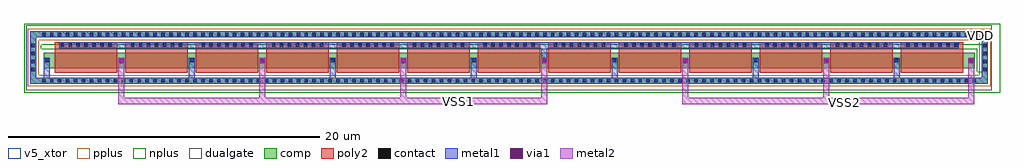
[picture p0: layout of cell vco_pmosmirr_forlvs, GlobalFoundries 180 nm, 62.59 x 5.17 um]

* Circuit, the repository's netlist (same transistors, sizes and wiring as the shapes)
* Extracted by KLayout with GF180MCU LVS runset on : 11/09/2025 15:00

.SUBCKT vco_pmosmirr_forlvs VSS2 VDD VSS1
M$1 VSS1 VSS1 VDD VSS1 nfet_05v0 L=4U W=1U AS=0.73P AD=0.26P PS=3.46U PD=1.52U
M$2 \$5 VSS1 VSS1 VSS1 nfet_05v0 L=4U W=2U AS=0.52P AD=0.52P PS=3.04U PD=3.04U
M$4 \$6 VSS1 VSS1 VSS1 nfet_05v0 L=4U W=2U AS=0.52P AD=0.52P PS=3.04U PD=3.04U
M$6 \$7 VSS1 VSS1 VSS1 nfet_05v0 L=4U W=2U AS=0.52P AD=0.52P PS=3.04U PD=3.04U
M$8 \$8 VSS1 VSS1 VSS1 nfet_05v0 L=4U W=1U AS=0.26P AD=0.26P PS=1.52U PD=1.52U
M$9 VSS2 VSS1 \$8 VSS1 nfet_05v0 L=4U W=1U AS=0.26P AD=0.26P PS=1.52U PD=1.52U
M$10 \$9 VSS1 VSS2 VSS1 nfet_05v0 L=4U W=2U AS=0.52P AD=0.52P PS=3.04U PD=3.04U
M$12 \$10 VSS1 VSS2 VSS1 nfet_05v0 L=4U W=2U AS=0.52P AD=0.99P PS=3.04U PD=4.98U
.ENDS vco_pmosmirr_forlvs

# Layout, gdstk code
import gdstk
lib = gdstk.Library(unit=1e-6, precision=5e-09)
def R(c, l, rs):  # rectangles x0, y0, x1, y1
    for r in rs: c.add(gdstk.rectangle(r[:2], r[2:], *l))
def A(c, l, x, y, w, h, nx, ny, dx, dy):  # array of equal rectangles
    R(c, l, [(x+i*dx, y+j*dy, x+i*dx+w, y+j*dy+h) for i in range(nx) for j in range(ny)])
def P(c, l, *ps):  # polygons
    for p in ps: c.add(gdstk.Polygon(p, *l))
comp = (22, 0)
poly2 = (30, 0)
pplus = (31, 0)
nplus = (32, 0)
contact = (33, 0)
metal1 = (34, 0)
via1 = (35, 0)
metal2 = (36, 0)
dualgate = (55, 0)
v5_xtor = (112, 1)

nfet_1 = lib.new_cell('nfet$1')
R(nfet_1, comp, [(-0.42,0,0,1), (0,0,58.86,1), (58.86,0,59.28,1)])
P(nfet_1, comp, [(-1.28,-0.99),(-1.28,1.98),(-0.9,1.98),(-0.9,-0.61),(59.76,-0.61),(59.76,1.98),(-1.28,1.98),(-1.28,2.36),(60.14,2.36),(60.14,-0.99)])
A(nfet_1, poly2, 0.31, -0.3, 4, 1.6, 13, 1, 4.52, 0)
A(nfet_1, poly2, 0.31, 1.3, 4, 0.36, 13, 1, 4.52, 0)
P(nfet_1, pplus, [(-1.45,-1.16),(-1.45,1.81),(-0.73,1.81),(-0.73,-0.44),(59.59,-0.44),(59.59,1.81),(-1.45,1.81),(-1.45,2.53),(60.31,2.53),(60.31,-1.16)])
R(nfet_1, nplus, [(-0.59,-0.24,59.45,1.24)])
A(nfet_1, contact, -0.515, -0.91, 0.22, 0.22, 118, 2, 0.51, 2.97)
A(nfet_1, contact, -1.2, -0.19, 0.22, 0.22, 1, 4, 0, 0.51)
A(nfet_1, contact, 59.84, -0.19, 0.22, 0.22, 1, 4, 0, 0.51)
A(nfet_1, contact, 4.46, 0.39, 0.22, 0.22, 12, 1, 4.52, 0)
A(nfet_1, contact, 0.67, 1.37, 0.22, 0.22, 7, 1, 0.51, 0)
A(nfet_1, contact, 5.19, 1.37, 0.22, 0.22, 7, 1, 0.51, 0)
A(nfet_1, contact, 9.71, 1.37, 0.22, 0.22, 7, 1, 0.51, 0)
A(nfet_1, contact, 14.23, 1.37, 0.22, 0.22, 7, 1, 0.51, 0)
A(nfet_1, contact, 18.75, 1.37, 0.22, 0.22, 7, 1, 0.51, 0)
A(nfet_1, contact, 23.27, 1.37, 0.22, 0.22, 7, 1, 0.51, 0)
A(nfet_1, contact, 27.79, 1.37, 0.22, 0.22, 7, 1, 0.51, 0)
A(nfet_1, contact, 32.31, 1.37, 0.22, 0.22, 7, 1, 0.51, 0)
A(nfet_1, contact, 36.83, 1.37, 0.22, 0.22, 7, 1, 0.51, 0)
A(nfet_1, contact, 41.35, 1.37, 0.22, 0.22, 7, 1, 0.51, 0)
A(nfet_1, contact, 45.87, 1.37, 0.22, 0.22, 7, 1, 0.51, 0)
A(nfet_1, contact, 50.39, 1.37, 0.22, 0.22, 7, 1, 0.51, 0)
A(nfet_1, contact, 54.91, 1.37, 0.22, 0.22, 7, 1, 0.51, 0)
R(nfet_1, contact, [(-0.32,0.39,-0.1,0.61), (58.96,0.39,59.18,0.61)])
A(nfet_1, metal1, 4.38, 0.31, 0.38, 0.38, 12, 1, 4.52, 0)
A(nfet_1, metal1, 0.59, 1.29, 3.44, 0.38, 13, 1, 4.52, 0)
R(nfet_1, metal1, [(-0.4,0.31,-0.02,0.69), (58.88,0.31,59.26,0.69)])
R(nfet_1, dualgate, [(-1.53,-1.4,60.39,2.77), (-1.53,-1.24,60.39,2.61)])
R(nfet_1, v5_xtor, [(-1.53,-1.4,60.39,2.77), (-1.53,-1.24,60.39,2.61)])

vco_pmosmirr_forlvs = lib.new_cell('vco_pmosmirr_forlvs')
R(vco_pmosmirr_forlvs, nplus, [(-3.845,7.15,58.745,8.505), (-3.845,7.15,-2.745,11.585), (57.645,7.15,58.745,11.585), (-3.845,10.23,58.745,11.585)])
A(vco_pmosmirr_forlvs, metal1, 6.73, 8.12, 0.38, 0.92, 6, 1, 9.04, 0)
R(vco_pmosmirr_forlvs, metal1, [(-3.45,7.735,57.97,8.115), (-3.45,8.115,-3.07,10.705), (-2.57,8.115,-2.19,9.035), (57.59,8.115,57.97,10.705), (29.33,9.415,29.71,10.025), (-1.58,10.015,56.1,10.395), (-3.45,10.705,57.97,11.085)])
A(vco_pmosmirr_forlvs, via1, 2.27, 9.095, 0.26, 0.26, 6, 1, 9.04, 0)
R(vco_pmosmirr_forlvs, via1, [(56.77,9.095,57.03,9.355)])
A(vco_pmosmirr_forlvs, metal2, 2.21, 6.415, 0.38, 3, 6, 1, 9.04, 0)
R(vco_pmosmirr_forlvs, metal2, [(2.59,6.415,29.71,6.83), (38.37,6.415,57.09,6.83), (56.71,6.415,57.09,9.415)])
vco_pmosmirr_forlvs.add(gdstk.Reference(nfet_1, (-2.17,8.725)))
vco_pmosmirr_forlvs.add(gdstk.Label('VDD', (57.475,10.855), layer=34, texttype=10))
vco_pmosmirr_forlvs.add(gdstk.Label('VSS2', (48.745,6.545), layer=36, texttype=10))
vco_pmosmirr_forlvs.add(gdstk.Label('VSS1', (24.04,6.565), layer=36, texttype=10))

lib.write_gds('vco_pmosmirr_forlvs.gds')
